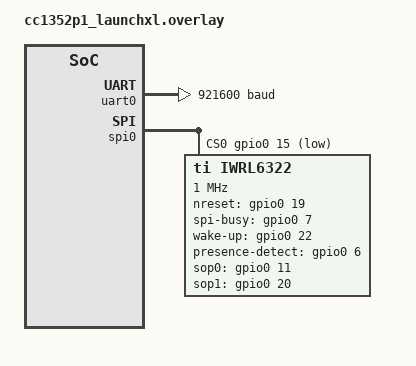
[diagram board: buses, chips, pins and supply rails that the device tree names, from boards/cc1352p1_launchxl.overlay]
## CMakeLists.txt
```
# SPDX-License-Identifier: Apache-2.0

cmake_minimum_required(VERSION 3.20.0)

# Register the TI IWRL6322 uDFP SDK as a Zephyr module.
# Must be set before find_package(Zephyr) so ZEPHYR_IWRL6322_UDFP_MODULE_DIR
# is available when the driver's CMakeLists.txt is processed.
list(APPEND ZEPHYR_EXTRA_MODULES $ENV{ZEPHYR_BASE}/../modules/ti/iwrl6322-udfp)

find_package(Zephyr REQUIRED HINTS $ENV{ZEPHYR_BASE})
project(ti_iwrl6322)

# Make iwrl6322.h available to the application for
# IWRL6322_MODE_*, IWRL6322_ATTR_*, and IWRL6322_CHAN_*.
zephyr_include_directories(${ZEPHYR_BASE}/drivers/sensor/ti/iwrl6322)

FILE(GLOB app_sources src/*.c)
target_sources(app PRIVATE ${app_sources})
```

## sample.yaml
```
sample:
  name: TI IWRL6322 Radar Sensor
  description: >
    Demonstrates the TI IWRL6322 mmWave radar sensor driver using the
    RTIO/async sensor_stream path and the iwrl6322_decoder_api extension to
    decode MPD point-cloud frames. The IWRL6322 is RTIO-only; 
    sensor_sample_fetch is not supported.
tests:
  sample.sensor.iwrl6322:
    platform_allow:
      - cc1352p1_launchxl
    tags:
      - sensor
```

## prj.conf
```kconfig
CONFIG_SPI=y
CONFIG_SENSOR=y
CONFIG_IWRL6322=y

CONFIG_LOG=n
CONFIG_BOOT_BANNER=n
CONFIG_PRINTK=n
CONFIG_BASE64=y
CONFIG_IWRL6322_MAX_PAYLOAD_BYTES=32768
CONFIG_IWRL6322_FE_FRAME_PERIOD_MS=1000

# Increase main thread stack — the TI library allocates several large
# packet buffers on the call stack during SPI transfers.
CONFIG_MAIN_STACK_SIZE=4096

# RTIO / async sensor read — enables sensor_stream() + sensor_decoder_api.
# The IWRL6322 driver is RTIO-only; sensor_sample_fetch is not supported.

CONFIG_RTIO=y
CONFIG_RTIO_WORKQ=y
CONFIG_RTIO_WORKQ_POOL_ITEMS=4
CONFIG_RTIO_WORKQ_THREADS_POOL_STACK_SIZE=1024

CONFIG_NO_OPTIMIZATIONS=y
```

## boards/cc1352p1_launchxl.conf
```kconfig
# Default operating mode at driver init: 0 = STOP (application sets mode
# via IWRL6322_ATTR_OPERATING_MODE after configure_sensor() completes).
CONFIG_IWRL6322_DEFAULT_MODE=0

CONFIG_IWRL6322_DEBUG_LOG=y
```

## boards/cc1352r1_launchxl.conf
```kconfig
# Default operating mode at driver init: 0 = STOP (application sets mode
# via IWRL6322_ATTR_OPERATING_MODE after configure_sensor() completes).
CONFIG_TI_MMWAVE_IWRL6322_DEFAULT_MODE=0
```

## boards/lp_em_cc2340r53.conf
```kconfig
# Copyright (c) 2026 Texas Instruments Incorporated
# SPDX-License-Identifier: Apache-2.0
#
# LP-EM-CC2340R53 board configuration for the IWRL6322 sensor sample.
#
# The CC2340R53 has 64 KB RAM.  Disable mbedTLS (pulled in by the board
# defconfig for BLE) and reduce buffer sizes to fit within RAM.

CONFIG_IWRL6322=y
CONFIG_IWRL6322_DEFAULT_MODE=0

# Disable mbedTLS — not needed for the IWRL6322 driver
CONFIG_MBEDTLS=n
CONFIG_MBEDTLS_PSA_CRYPTO_C=n

# Disable power management to prevent SPI pin sleep state from causing
# inter-transaction latency on the CC2340R53.
CONFIG_PM=n

# The board defaults enable device runtime PM (lpf3_common/Kconfig.defconfig)
# with a 768-byte dedicated work queue stack, which overflows in this build.
CONFIG_PM_DEVICE_RUNTIME_DEDICATED_WQ_STACK_SIZE=2048

# Increase SPI response timeout — default 10ms is too tight at 1MHz
CONFIG_IWRL6322_API_TIMEOUT_MS=255

# Reduce buffers to fit logging in 64KB RAM
CONFIG_IWRL6322_MAX_PAYLOAD_BYTES=512
CONFIG_IWRL6322_WORK_QUEUE_STACK_SIZE=4096

# Enable logging for debugging
CONFIG_LOG=y
CONFIG_LOG_MODE_IMMEDIATE=y
# CONFIG_ASSERT=y
CONFIG_STACK_SENTINEL=y
CONFIG_IWRL6322_DEBUG_LOG=y
CONFIG_LOG_DEFAULT_LEVEL=3
```

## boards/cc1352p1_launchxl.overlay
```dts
/*
 * Copyright (c) 2025
 * SPDX-License-Identifier: Apache-2.0
 *
 * CC1352P1 LaunchXL board overlay for the TI IWRL6322 mmWave sensor sample.
 *
 * Pin wiring (DIO number -> IWRL6322 signal):
 *
 *  DIO8   SPI_MISO         MISO   (board pinctrl: spi0_miso_default)
 *  DIO9   SPI_MOSI         MOSI   (board pinctrl: spi0_mosi_default)
 *  DIO10  SPI_CLK          CLK    (board pinctrl: spi0_sck_default)
 *  DIO15  SPI_CS           CSN    driven as a GPIO via cs-gpios
 *  DIO19  nRESET           nRESET
 *  DIO7   SPI_BUSY         MCU_DEVICE_BUSY
 *  DIO22  WAKE_UP          WAKE_UP (SOP1 on the breakout)
 *  DIO6   PRESENCE_DETECT  PRESENCE_DETECT / HOST_IRQ
 *  DIO11  SOP0             SOP0 (pull-down -> SPI boot mode)
 *  DIO20  SOP1             SOP1 (pull-down -> SPI boot mode)
 *
 * GPIO flag notes:
 *   cs-gpios          - GPIO_ACTIVE_LOW: SPI CS is asserted LOW.  A GPIO is
 *                       used instead of the SPI0_FSS hardware pin so that CS
 *                       stays asserted for the entire multi-byte packet; the
 *                       CC1352P1 hardware FSS would deassert between bytes
 *                       when the TX FIFO drains.
 *   nreset-gpios      - GPIO_ACTIVE_HIGH: gpio_pin_set_dt(0) drives the pin
 *                       LOW (reset asserted), gpio_pin_set_dt(1) releases it.
 *   spi-busy-gpios    - GPIO_ACTIVE_HIGH: the pin idles HIGH between
 *                       transactions; the TI library waits for LOW before a
 *                       command and HIGH before the next transfer.
 *   wake-up/pres      - GPIO_ACTIVE_HIGH: read or driven at the physical level.
 *
 * Power: the IWRL6322 draws noticeably more current once MPD processing is
 * running.  If the board powers the radar through a jump-start USB cable,
 * leave that cable connected, otherwise the supply can sag and drop the
 * LaunchPad off USB.
 */

/* Set UART0 (zephyr,console) to 921600 baud for raw data streaming */
&uart0 {
	current-speed = <921600>;
};

&spi0 {
	/*
	 * Override pinctrl to remove the hardware SPI0_FSS mux on DIO11.
	 * CS is instead driven by cs-gpios below (GPIO mode keeps CS asserted
	 * for the full packet — hardware FSS would deassert per byte).
	 */
	pinctrl-0 = <&spi0_sck_default &spi0_mosi_default &spi0_miso_default>;
    	pinctrl-names = "default";
	cs-gpios = <&gpio0 15 GPIO_ACTIVE_LOW>;

	iwrl6322: iwrl6322@0 {
		compatible = "ti,iwrl6322";
		reg = <0>;
		spi-max-frequency = <1000000>; /* 1 MHz */

		/*
		 * nRESET: asserted (low) at init, released (high) at power-up.
		 * Use ACTIVE_HIGH so gpio_pin_set_dt(0)→LOW and (1)→HIGH.
		 */
		nreset-gpios          = <&gpio0 19 GPIO_ACTIVE_HIGH>;

		/*
		 * SPI_BUSY: idles HIGH between transactions.
		 * ACTIVE_HIGH so gpio_pin_get_dt returns the physical level that
		 * the TI library waits on (LOW before a command, HIGH after).
		 */
		spi-busy-gpios        = <&gpio0 7 GPIO_ACTIVE_HIGH>;

		/* WAKE_UP: assert HIGH to keep device active, deassert to allow deep sleep */
		wake-up-gpios         = <&gpio0 22 (GPIO_ACTIVE_HIGH | GPIO_PULL_DOWN)>;

		/*
		 * PRESENCE_DETECT: device asserts HIGH on each frame (verbose mode)
		 * or when occupancy is detected (presence mode).
		 * Wiring this pin enables SENSOR_TRIG_DATA_READY.
		 */
		presence-detect-gpios = <&gpio0 6 GPIO_ACTIVE_HIGH>;
		sop0-gpios = <&gpio0 11 (GPIO_ACTIVE_HIGH | GPIO_PULL_DOWN)>;
		sop1-gpios = <&gpio0 20 (GPIO_ACTIVE_HIGH | GPIO_PULL_DOWN)>;

	};
};
```

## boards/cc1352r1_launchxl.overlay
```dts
/*
 * Copyright (c) 2025
 * SPDX-License-Identifier: Apache-2.0
 *
 * CC1352P1 LaunchXL board overlay for the TI IWRL6322 mmWave sensor sample.
 *
 * Pin wiring (connect to the IWRL6322 breakout via BoosterPack header):
 *
 *  BP Header  DIO   Signal              IWRL6322 pin
 *  ──────────────────────────────────────────────────
 *  BP-7       DIO10  SPI_CLK (SCK)      CLK
 *  BP-15      DIO9   SPI_MOSI           MOSI
 *  BP-14      DIO8   SPI_MISO           MISO
 *  BP-18      DIO11  SPI_CSN (GPIO CS)  CSN  ← driven by GPIO, not SPI0_FSS hw
 *  BP-38      DIO20  nRESET             nRESET
 *  BP-36      DIO18  SPI_BUSY           SPI_BUSY
 *  BP-5       DIO22  WAKE_UP            WAKE_UP
 *  BP-29      DIO7   PRESENCE_DETECT    PRESENCE_DETECT
 *
 * GPIO flag notes:
 *   cs-gpios          — GPIO_ACTIVE_LOW: SPI CS is asserted LOW.  Using a
 *                       GPIO (instead of the SPI0_FSS hardware pin) ensures
 *                       CS stays asserted for the entire multi-byte packet.
 *                       The CC1352P1 hardware FSS would deassert between
 *                       bytes when the TX FIFO drains.
 *   nreset-gpios      — GPIO_ACTIVE_HIGH: driver uses gpio_pin_set_dt(0)
 *                       to assert (physical LOW) and gpio_pin_set_dt(1) to
 *                       release (physical HIGH).
 *   spi-busy-gpios    — GPIO_ACTIVE_HIGH: TI library polls for return value
 *                       0 (pin LOW = device ready); gpio_pin_get_dt returns
 *                       0 for physical LOW when flag is ACTIVE_HIGH.
 *   wake-up/pres      — GPIO_ACTIVE_HIGH: all driven or read at logical
 *                       level matching the physical signal level.
 */

/* Set UART0 (zephyr,console) to 921600 baud for raw data streaming */
&uart0 {
	current-speed = <921600>;
};

&spi0 {
	/*
	 * Override pinctrl to remove the hardware SPI0_FSS mux on DIO11.
	 * CS is instead driven by cs-gpios below (GPIO mode keeps CS asserted
	 * for the full packet — hardware FSS would deassert per byte).
	 */
	pinctrl-0 = <&spi0_sck_default &spi0_mosi_default &spi0_miso_default>;
    pinctrl-names = "default";	
	cs-gpios = <&gpio0 15 GPIO_ACTIVE_LOW>;

	mmwave: mmwave@0 {
		compatible = "ti,mmwave-radar";
		reg = <0>;
		spi-max-frequency = <1000000>; /* 1 MHz */

		/*
		 * nRESET: asserted (low) at init, released (high) at power-up.
		 * Use ACTIVE_HIGH so gpio_pin_set_dt(0)→LOW and (1)→HIGH.
		 */
		nreset-gpios          = <&gpio0 19 GPIO_ACTIVE_HIGH>;

		/*
		 * SPI_BUSY: device drives LOW when idle/ready.
		 * Use ACTIVE_HIGH so gpio_pin_get_dt returns 0 when LOW (=ready),
		 * matching M_RL_SPI_BUSY_LOW expected by the TI library.
		 */
		spi-busy-gpios        = <&gpio0 7 GPIO_ACTIVE_HIGH>;

		/* WAKE_UP: assert HIGH to keep device active, deassert to allow deep sleep */
		wake-up-gpios         = <&gpio0 22 (GPIO_ACTIVE_HIGH | GPIO_PULL_DOWN)>;

		/*
		 * PRESENCE_DETECT: device asserts HIGH on each frame (verbose mode)
		 * or when occupancy is detected (presence mode).
		 * Wiring this pin enables SENSOR_TRIG_DATA_READY.
		 */
		presence-detect-gpios = <&gpio0 6 GPIO_ACTIVE_HIGH>;
		sop0-gpios = <&gpio0 11 (GPIO_ACTIVE_HIGH | GPIO_PULL_DOWN)>;
		sop1-gpios = <&gpio0 20 (GPIO_ACTIVE_HIGH | GPIO_PULL_DOWN)>;

	};
};
```

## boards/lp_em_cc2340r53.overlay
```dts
/*
 * Copyright (c) 2026 Texas Instruments Incorporated
 * SPDX-License-Identifier: Apache-2.0
 *
 * LP-EM-CC2340R53 board overlay for the IWRL6322 sensor sample.
 *
 * Pin wiring (DIO number -> IWRL6322 signal):
 *
 *  DIO18  SPI_CLK          CLK    (board pinctrl: spi0_sck_default)
 *  DIO13  SPI_MOSI         MOSI   (board pinctrl: spi0_mosi_default)
 *  DIO12  SPI_MISO         MISO   (board pinctrl: spi0_miso_default)
 *  DIO15  SPI_CS           CSN    driven as a GPIO via cs-gpios
 *  DIO19  nRESET           nRESET
 *  DIO9   SPI_BUSY         MCU_DEVICE_BUSY
 *  DIO14  WAKE_UP          WAKE_UP (SOP1 on the breakout)
 *  DIO8   PRESENCE_DETECT  PRESENCE_DETECT / HOST_IRQ
 *  DIO21  SOP0             SOP0 (pull-down -> SPI boot mode)
 *  DIO5   SOP1             SOP1 (pull-down -> SPI boot mode)
 *
 * The board's pinctrl-0 for spi0 includes a 4th CS pin (DIO6), which makes
 * the SPI driver use hardware CS instead of the GPIO CS on DIO15.  pinctrl-0
 * is therefore overridden with a 3-pin state (SCK, MOSI, MISO only) so the
 * driver falls back to cs-gpios.  The board defines a "sleep" pinctrl state
 * as well, so pinctrl-1 and pinctrl-names are overridden to match.
 *
 * Power: the IWRL6322 draws noticeably more current once MPD processing is
 * running.  If the board powers the radar through a jump-start USB cable,
 * leave that cable connected, otherwise the supply can sag.
 */

#include <zephyr/dt-bindings/pinctrl/cc23x0-pinctrl.h>

/* Remove the on-board flash so IWRL6322 can take CS index 0. */
/delete-node/ &mx25r80;

&spi0 {
	/* 3-pin pinctrl — no HW CS pin, driver uses cs-gpios */
	pinctrl-0 = <&spi0_sck_default &spi0_mosi_default &spi0_miso_default>;
	pinctrl-1 = <&spi0_sck_sleep &spi0_mosi_sleep &spi0_miso_sleep>;
	pinctrl-names = "default", "sleep";
	cs-gpios = <&gpio0 15 GPIO_ACTIVE_LOW>;

	iwrl6322: iwrl6322@0 {
		compatible = "ti,iwrl6322";
		reg = <0>;
		spi-max-frequency = <1000000>; /* 1 MHz */

		nreset-gpios          = <&gpio0 19 GPIO_ACTIVE_HIGH>;
		spi-busy-gpios        = <&gpio0 9  GPIO_ACTIVE_HIGH>;
		wake-up-gpios         = <&gpio0 14 GPIO_ACTIVE_HIGH>;
		presence-detect-gpios = <&gpio0 8  GPIO_ACTIVE_HIGH>;
		sop0-gpios            = <&gpio0 21 (GPIO_ACTIVE_HIGH | GPIO_PULL_DOWN)>;
		sop1-gpios            = <&gpio0 5  (GPIO_ACTIVE_HIGH | GPIO_PULL_DOWN)>;
	};
};
```

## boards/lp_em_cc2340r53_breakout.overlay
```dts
/*
 * Copyright (c) 2026 Texas Instruments Incorporated
 * SPDX-License-Identifier: Apache-2.0
 *
 * LP-EM-CC2340R53 board overlay for the IWRL6322 sensor sample.
 *
 * Pin wiring (BoosterPack header -> IWRL6322):
 *
 *  DIO   BP Header  Signal              IWRL6322 pin
 *  ------------------------------------------------
 *  DIO18  BP-7      SPI_CLK (SCK)       CLK
 *  DIO13  BP-15     SPI_MOSI            MOSI
 *  DIO12  BP-14     SPI_MISO            MISO
 *  DIO10  BP-18     SPI_CS              CS    <- GPIO CS via cs-gpios
 *  DIO6   BP-38     nRESET              nRESET
 *  DIO15  BP-8      SPI_BUSY            MCU_DEVICE_BUSY
 *  DIO19  BP-5      WAKE_UP / SOP1      WAKE_UP (dual-use: also SOP1)
 *  DIO14  BP-36     PRESENCE_DETECT     PRESENCE_DETECT
 *  DIO11  (header)  SOP0                MCU_HOSTIRQ_SOP0 (boot: SOP0, run: HOST_IRQ)
 *
 * The board's pinctrl-0 for spi0 includes a 4th CS pin which causes the SPI
 * driver to use hardware CS instead of the GPIO CS on DIO10.  Override
 * pinctrl-0 with a 3-pin state (SCK, MOSI, MISO only) so the driver falls
 * through to use cs-gpios for chip select.
 *
 * DIO19 is dual-use: driven as SOP1 (output low) at boot, then reasserted as
 * WAKE_UP during operation.  DIO11 is driven low as SOP0 at boot, then
 * reconfigured as input (HOST_IRQ / PRESENCE_DETECT) after boot.
 */

#include <zephyr/dt-bindings/pinctrl/cc23x0-pinctrl.h>

/* Remove the on-board flash so IWRL6322 can take CS index 0. */
/delete-node/ &mx25r80;

&spi0 {
	/* 3-pin pinctrl — no HW CS pin, driver uses cs-gpios */
	pinctrl-0 = <&spi0_sck_default &spi0_mosi_default &spi0_miso_default>;
	pinctrl-1 = <&spi0_sck_sleep &spi0_mosi_sleep &spi0_miso_sleep>;
	pinctrl-names = "default", "sleep";
	cs-gpios = <&gpio0 10 GPIO_ACTIVE_LOW>;  /* DIO10 (BP-18) */

	iwrl6322: iwrl6322@0 {
		compatible = "ti,iwrl6322";
		reg = <0>;
		spi-max-frequency = <1000000>; /* 1 MHz */

		nreset-gpios          = <&gpio0 6  GPIO_ACTIVE_HIGH>;
		spi-busy-gpios        = <&gpio0 15 GPIO_ACTIVE_HIGH>;
		wake-up-gpios         = <&gpio0 19 (GPIO_ACTIVE_HIGH | GPIO_PULL_DOWN)>;
		presence-detect-gpios = <&gpio0 11 GPIO_ACTIVE_HIGH>;
		sop0-gpios            = <&gpio0 11 (GPIO_ACTIVE_HIGH | GPIO_PULL_DOWN)>;
		sop1-gpios            = <&gpio0 19 (GPIO_ACTIVE_HIGH | GPIO_PULL_DOWN)>;
	};
};
```

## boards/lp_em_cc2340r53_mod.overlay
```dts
/*
 * Copyright (c) 2026 Texas Instruments Incorporated
 * SPDX-License-Identifier: Apache-2.0
 *
 * LP-EM-CC2340R53 board overlay for the IWRL6322 sensor sample.
 *
 * Pin wiring (BoosterPack header -> IWRL6322):
 *
 *  DIO   BP Header  Signal              IWRL6322 pin
 *  ------------------------------------------------
 *  DIO18  BP-7      SPI_CLK (SCK)       CLK
 *  DIO13  BP-15     SPI_MOSI            MOSI
 *  DIO12  BP-14     SPI_MISO            MISO
 *  DIO10  BP-18     SPI_CS              CS    <- GPIO CS via cs-gpios
 *  DIO6   BP-38     nRESET              nRESET
 *  DIO19  BP-5      WAKE_UP / SOP1      WAKE_UP (dual-use: also SOP1)
 *  DIO14  BP-36     PRESENCE_DETECT     PRESENCE_DETECT
 *  DIO15  (header)  SPI_BUSY            MCU_DEVICE_BUSY
 *  DIO11  (header)  SOP0                MCU_HOSTIRQ_SOP0 (boot: SOP0, run: HOST_IRQ)
 *
 * The board's pinctrl-0 for spi0 includes a 4th CS pin which causes the SPI
 * driver to use hardware CS instead of the GPIO CS on DIO10.  Override
 * pinctrl-0 with a 3-pin state (SCK, MOSI, MISO only) so the driver falls
 * through to use cs-gpios for chip select.
 *
 * DIO19 is dual-use: driven as SOP1 (output low) at boot, then reasserted as
 * WAKE_UP during operation.  DIO11 is only listed as sop0-gpios; it is driven
 * low at boot and left as an output (HOST_IRQ is not used by the driver).
 */

#include <zephyr/dt-bindings/pinctrl/cc23x0-pinctrl.h>

/* Remove the on-board flash so IWRL6322 can take CS index 0. */
/delete-node/ &mx25r80;

&spi0 {
	/* 3-pin pinctrl — no HW CS pin, driver uses cs-gpios */
	pinctrl-0 = <&spi0_sck_default &spi0_mosi_default &spi0_miso_default>;
	pinctrl-1 = <&spi0_sck_sleep &spi0_mosi_sleep &spi0_miso_sleep>;
	pinctrl-names = "default", "sleep";
	cs-gpios = <&gpio0 10 GPIO_ACTIVE_LOW>;  /* DIO10 (BP-18) */

	iwrl6322: iwrl6322@0 {
		compatible = "ti,iwrl6322";
		reg = <0>;
		spi-max-frequency = <1000000>; /* 1 MHz */

		nreset-gpios          = <&gpio0 6  GPIO_ACTIVE_HIGH>;
		spi-busy-gpios        = <&gpio0 15 GPIO_ACTIVE_HIGH>;  /* MCU_DEVICE_BUSY */
		wake-up-gpios         = <&gpio0 19 (GPIO_ACTIVE_HIGH | GPIO_PULL_DOWN)>;
		presence-detect-gpios = <&gpio0 14 GPIO_ACTIVE_HIGH>;
		sop0-gpios            = <&gpio0 11 (GPIO_ACTIVE_HIGH | GPIO_PULL_DOWN)>;
		sop1-gpios            = <&gpio0 19 (GPIO_ACTIVE_HIGH | GPIO_PULL_DOWN)>;
	};
};
```

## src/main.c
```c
/*
 * Copyright (c) 2025
 * SPDX-License-Identifier: Apache-2.0
 *
 * TI mmWave IWRL6322 radar sensor sample — sensor_stream path.
 *
 * Requires CONFIG_SENSOR_ASYNC_API=y (see prj.conf).
 *
 * The driver's GPIO ISR workqueue handler fires on each rising edge of the
 * PRESENCE_DETECT pulse.  It writes the raw MPD point-cloud payload
 * directly into the RTIO pool buffer (zero-copy, no memcpy) and signals
 * the multishot SQE.  RTIO automatically re-arms the SQE for the next
 * trigger.
 *
 * This application uses the iwrl6322_decoder_api extension to decode each
 * buffer without an extra copy:
 *   dec->get_sensor_info(buf, buf_len, &info) — validates buf, copies scalar
 *   metadata, and sets info.points to a pointer directly into the RTIO buffer.
 *
 * The IWRL6322 driver is RTIO-only.  sensor_sample_fetch / sensor_channel_get
 * are not supported — use sensor_stream / sensor_read instead.
 */

#include <zephyr/kernel.h>
#include <zephyr/device.h>
#include <zephyr/drivers/uart.h>
#include <zephyr/drivers/sensor.h>
#include <zephyr/rtio/rtio.h>
#include <zephyr/sys/util.h>
#include <zephyr/logging/log.h>

/* iwrl6322.h provides IWRL6322_MODE_* and IWRL6322_ATTR_* */
#include "iwrl6322.h"

LOG_MODULE_REGISTER(iwrl6322_sample, LOG_LEVEL_INF);

/* -------------------------------------------------------------------------
 * RTIO context and streaming iodev
 *
 * SENSOR_DT_STREAM_IODEV creates an rtio_iodev that sets is_streaming=true.
 * The driver stores the multishot SQE and completes it on every DATA_READY
 * GPIO rising edge; RTIO re-arms the SQE automatically.
 *
 * RTIO_DEFINE_WITH_MEMPOOL allocates a pool of payload blocks. Each slot holds
 * one [iwrl6322_buffer_header + variant-specific payload]. On the 80 KiB
 * cc1352p1_launchxl we can keep four blocks for the small default payload, but
 * a 32 KiB payload only fits as a single in-flight block.
 * -------------------------------------------------------------------------
 */

SENSOR_DT_STREAM_IODEV(iwrl6322_iodev,
		       DT_NODELABEL(iwrl6322),
		       SENSOR_STREAM_TRIGGER_PREP(SENSOR_TRIG_DATA_READY,
						  SENSOR_STREAM_DATA_INCLUDE));

#define IWRL6322_PAYLOAD_SIZE CONFIG_IWRL6322_MAX_PAYLOAD_BYTES
#define IWRL6322_BUFFER_SIZE (sizeof(struct iwrl6322_buffer_header) + IWRL6322_PAYLOAD_SIZE)
#define RTIO_BLOCK_SIZE NHPOT(IWRL6322_BUFFER_SIZE)
#if IWRL6322_PAYLOAD_SIZE >= 32768
#define RTIO_NUM_BLOCKS 1
#else
#define RTIO_NUM_BLOCKS 4
#endif

static const uint8_t fe_raw_prefix[] = "DATA: ";
static const struct device *const fe_raw_uart =
	DEVICE_DT_GET(DT_CHOSEN(zephyr_console));

static const char base64_table[] =
	"ABCDEFGHIJKLMNOPQRSTUVWXYZabcdefghijklmnopqrstuvwxyz0123456789+/";

RTIO_DEFINE_WITH_MEMPOOL(iwrl6322_ctx,
			 /* sq_sz   */ 4,
			 /* cq_sz   */ 4,
			 /* num_blks */ RTIO_NUM_BLOCKS,
			 /* blk_size */ RTIO_BLOCK_SIZE,
			 /* align    */ sizeof(void *));

/* -------------------------------------------------------------------------
 * Sensor configuration
 * -------------------------------------------------------------------------
 */

static void uart_write_base64(const uint8_t *src, size_t len)
{
	size_t i = 0;

	while ((i + 3U) <= len) {
		const uint8_t a = src[i++];
		const uint8_t b = src[i++];
		const uint8_t c = src[i++];
		const uint32_t triple = ((uint32_t)a << 16) |
					((uint32_t)b << 8) |
					(uint32_t)c;

		uart_poll_out(fe_raw_uart, base64_table[(triple >> 18) & 0x3FU]);
		uart_poll_out(fe_raw_uart, base64_table[(triple >> 12) & 0x3FU]);
		uart_poll_out(fe_raw_uart, base64_table[(triple >> 6) & 0x3FU]);
		uart_poll_out(fe_raw_uart, base64_table[triple & 0x3FU]);
	}

	if (i < len) {
		const size_t remaining = len - i;
		const uint8_t a = src[i++];
		const uint8_t b = (remaining == 2U) ? src[i++] : 0U;
		const uint32_t triple = ((uint32_t)a << 16) |
					((uint32_t)b << 8);

		uart_poll_out(fe_raw_uart, base64_table[(triple >> 18) & 0x3FU]);
		uart_poll_out(fe_raw_uart, base64_table[(triple >> 12) & 0x3FU]);
		if (remaining == 2U) {
			uart_poll_out(fe_raw_uart, base64_table[(triple >> 6) & 0x3FU]);
		} else {
			uart_poll_out(fe_raw_uart, '=');
		}
		uart_poll_out(fe_raw_uart, '=');
	}
}

static void print_fe_raw_base64(const struct iwrl6322_sensor_info *info)
{
	if (!device_is_ready(fe_raw_uart)) {
		LOG_ERR("console UART not ready");
		return;
	}

	for (size_t i = 0; i < sizeof(fe_raw_prefix) - 1U; i++) {
		uart_poll_out(fe_raw_uart, fe_raw_prefix[i]);
	}
	uart_write_base64((const uint8_t *)info->raw_data, info->raw_data_len);
	uart_poll_out(fe_raw_uart, '\r');
	uart_poll_out(fe_raw_uart, '\n');
}

#define ZONE_SET(dev, attr, zone, value, label)                         \
	do {                                                            \
		struct sensor_value _v = { .val1 = (zone),              \
					   .val2 = (value) };           \
		int _r = sensor_attr_set((dev), SENSOR_CHAN_ALL,        \
			(enum sensor_attribute)(attr), &_v);            \
		if (_r < 0) {                                           \
			LOG_ERR(label ": %d", _r);                      \
			return _r;                                      \
		}                                                       \
	} while (0)

/* -------------------------------------------------------------------------
 * main
 * -------------------------------------------------------------------------
 */

int main(void)
{
	const struct device *dev = DEVICE_DT_GET(DT_NODELABEL(iwrl6322));
	struct sensor_value attr_val;
	int ret;
	uint32_t last_wait_ms = 0;

	if (dev == NULL || !device_is_ready(dev)) {
		LOG_ERR("IWRL6322 not ready");
		return -ENODEV;
	}

	LOG_INF("IWRL6322 \"%s\" ready", dev->name);

	ret = sensor_attr_get(dev, SENSOR_CHAN_ALL, SENSOR_ATTR_CHIP_ID, &attr_val);
	if (ret == 0) {
		uint32_t ver = (uint32_t)attr_val.val1;

		LOG_INF("uDFP firmware: %u.%u.%u.%u",
			(ver >> 24) & 0xFF, (ver >> 16) & 0xFF,
			(ver >>  8) & 0xFF,  ver         & 0xFF);
	} else {
		LOG_ERR("No uDFP Firmware Found");
	}

	/* Explicit stop → start sequence. */
	attr_val.val1 = IWRL6322_MODE_STOP;
	ret = sensor_attr_set(dev, SENSOR_CHAN_ALL,
			      (enum sensor_attribute)IWRL6322_ATTR_OPERATING_MODE,
			      &attr_val);
	if (ret < 0) {
		LOG_ERR("Failed to stop sensor: %d", ret);
		return ret;
	}

	/* ------------------------------------------------------------------
	 * Start the stream.
	 *
	 * sensor_stream() submits a multishot SQE.  The driver stores it and
	 * completes it from the GPIO ISR workqueue on each DATA_READY rising
	 * edge, writing the sensor frame directly into the RTIO mempool buffer.
	 * RTIO re-arms the SQE automatically after each completion.
	 * ------------------------------------------------------------------
	 */
	ret = sensor_stream(&iwrl6322_iodev, &iwrl6322_ctx, NULL, NULL);
	if (ret < 0) {
		LOG_ERR("sensor_stream failed: %d", ret);
		return ret;
	}

	LOG_INF("Stream started — waiting for DATA_READY triggers...");

	attr_val.val1 = IWRL6322_MODE_MPD_VERBOSE;
	ret = sensor_attr_set(dev, SENSOR_CHAN_ALL,
			      (enum sensor_attribute)IWRL6322_ATTR_OPERATING_MODE,
			      &attr_val);
	if (ret < 0) {
		LOG_ERR("Failed to start sensor: %d", ret);
		return ret;
	}
	LOG_INF("Sensor started in MPD verbose mode");

	/* ------------------------------------------------------------------
	 * Main loop — consume completed CQEs as they arrive.
	 * ------------------------------------------------------------------
	 */
	while (1) {
		struct rtio_cqe *cqe;
		uint8_t *buf;
		uint32_t buf_len;

			cqe = rtio_cqe_consume(&iwrl6322_ctx);
			if (cqe == NULL) {
				uint32_t now = k_uptime_get_32();

				if ((now - last_wait_ms) >= 1000U) {
					last_wait_ms = now;
				}

				k_msleep(10);
				continue;
			}

			if (cqe->result < 0) {
				LOG_ERR("stream error: %d", cqe->result);
				rtio_cqe_release(&iwrl6322_ctx, cqe);
				continue;
		}

		/* Extract the buffer pointer from the CQE. */
		ret = rtio_cqe_get_mempool_buffer(&iwrl6322_ctx, cqe,
						  &buf, &buf_len);
		/* CQE is no longer needed once we have the buffer. */
		rtio_cqe_release(&iwrl6322_ctx, cqe);

			if (ret < 0) {
				LOG_ERR("get_mempool_buffer failed: %d", ret);
				continue;
			}

		/*
		 * Decode — zero-copy: info.points points directly into buf.
		 * Valid until rtio_release_buffer() below.
		 */
		struct iwrl6322_sensor_info info;

			ret = iwrl6322_decoder_get_sensor_info(buf, buf_len, &info);
			if (ret < 0) {
				LOG_ERR("get_sensor_info failed: %d", ret);
			} else if (info.raw_data != NULL) {
				/* RAW_ADC or 1D_FFT mode: emit one parser-friendly base64 row. */
				print_fe_raw_base64(&info);
			} else {
				LOG_INF("Frame %u: %d detection(s)  zone0=%d  zone1=%d",
				(unsigned int)info.frame_count,
				(int)info.num_detections,
				(info.zone_occupancy >> 0) & 1,
				(info.zone_occupancy >> 1) & 1);

			for (uint8_t i = 0; i < info.num_detections; i++) {
				const struct iwrl6322_point_data *pt =
					&info.points[i];

				LOG_INF("  [%u] X=%d cm  Y=%u cm  Z=%d cm"
					"  vel=%d  snr=%d.%d dB",
					(uint32_t)i,
					(int)pt->x_cm,
					(unsigned int)pt->y_cm,
					(int)pt->z_cm,
					(int)pt->velocity,
					pt->snr_01db / 10,
					(int)(pt->snr_01db >= 0
					      ? pt->snr_01db % 10
					      : -(pt->snr_01db % 10)));
			}
		}

		/* Return the buffer to the RTIO mempool. */
		rtio_release_buffer(&iwrl6322_ctx, buf, buf_len);
	}

	return 0;
}
```
